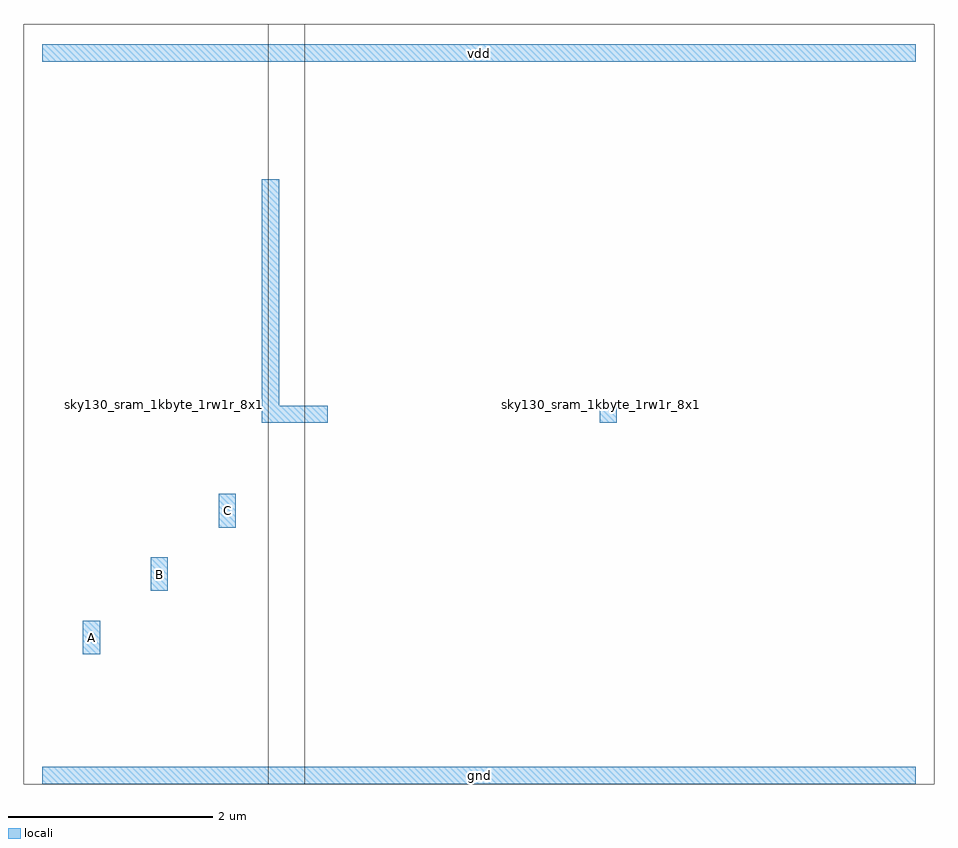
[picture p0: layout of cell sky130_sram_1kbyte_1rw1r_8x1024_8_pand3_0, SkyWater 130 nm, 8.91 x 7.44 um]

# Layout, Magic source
magic
tech sky130A
magscale 1 2
<< locali >>
rect 0 1397 1710 1431
rect 430 724 464 1167
rect 430 690 559 724
rect 1091 690 1125 724
rect 345 485 379 551
rect 212 361 246 427
rect 79 237 113 303
rect 0 -17 1710 17
use sky130_sram_1kbyte_1rw1r_8x1024_8_pdriver_4  sky130_sram_1kbyte_1rw1r_8x1024_8_pdriver_4_0
transform 1 0 478 0 1 0
box -36 -17 1268 1471
use sky130_sram_1kbyte_1rw1r_8x1024_8_pnand3  sky130_sram_1kbyte_1rw1r_8x1024_8_pnand3_0
transform 1 0 0 0 1 0
box -36 -17 514 1471
<< labels >>
rlabel locali s 1108 707 1108 707 4 Z
port 1 nsew
rlabel locali s 96 270 96 270 4 A
port 2 nsew
rlabel locali s 229 394 229 394 4 B
port 3 nsew
rlabel locali s 362 518 362 518 4 C
port 4 nsew
rlabel locali s 855 0 855 0 4 gnd
port 5 nsew
rlabel locali s 855 1414 855 1414 4 vdd
port 6 nsew
<< properties >>
string FIXED_BBOX 0 0 1710 1414
string GDS_FILE $PDKPATH/libs.ref/sky130_sram_macros/gds/sky130_sram_1kbyte_1rw1r_8x1024_8.gds
string GDS_END 6090846
string GDS_START 6089598
<< end >>
